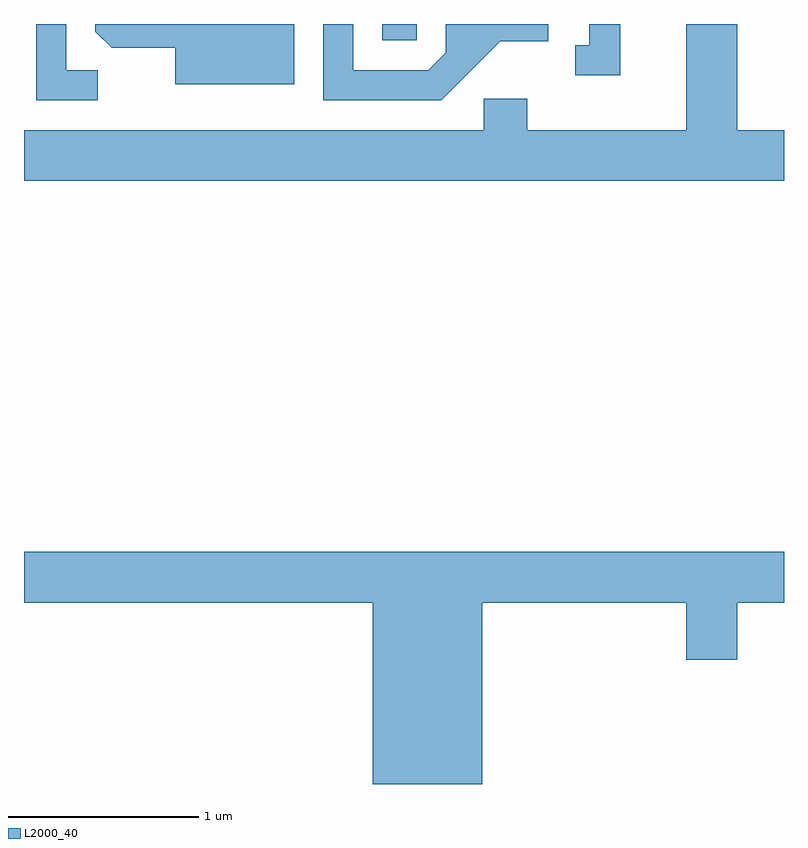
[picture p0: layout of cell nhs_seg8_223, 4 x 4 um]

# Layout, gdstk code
import gdstk
lib = gdstk.Library(unit=1e-6, precision=1e-09)
def R(c, l, rs):  # rectangles x0, y0, x1, y1
    for r in rs: c.add(gdstk.rectangle(r[:2], r[2:], *l))
def P(c, l, *ps):  # polygons
    for p in ps: c.add(gdstk.Polygon(p, *l))
L2000_40 = (2000, 40)

nhs_seg8_223 = lib.new_cell('nhs_seg8_223')
R(nhs_seg8_223, L2000_40, [(193.496,1848.256,193.679,1848.342)])
P(nhs_seg8_223, L2000_40, [(191.998,1848.099),(191.834,1848.099),(191.834,1848.342),(191.676,1848.342),(191.676,1847.941),(191.998,1847.941)],
  [(194.749,1848.342),(194.586,1848.342),(194.586,1848.229),(194.513,1848.229),(194.513,1848.071),(194.749,1848.071)],
  [(195.611,1847.784),(195.364,1847.784),(195.364,1848.342),(195.096,1848.342),(195.096,1847.784),(194.259,1847.784),(194.259,1847.949),(194.031,1847.949),(194.031,1847.784),(191.611,1847.784),(191.611,1847.516),(195.611,1847.516)],
  [(194.117,1848.251),(194.369,1848.251),(194.369,1848.342),(193.831,1848.342),(193.831,1848.192),(193.739,1848.099),(193.344,1848.099),(193.344,1848.342),(193.186,1848.342),(193.186,1847.941),(193.807,1847.941)],
  [(193.034,1848.342),(191.986,1848.342),(191.986,1848.302),(192.072,1848.216),(192.406,1848.216),(192.406,1848.026),(193.034,1848.026)],
  [(194.024,1845.296),(195.096,1845.296),(195.096,1844.996),(195.364,1844.996),(195.364,1845.296),(195.611,1845.296),(195.611,1845.564),(191.611,1845.564),(191.611,1845.296),(193.446,1845.296),(193.446,1844.342),(194.024,1844.342)])

lib.write_gds('nhs_seg8_223.gds')
